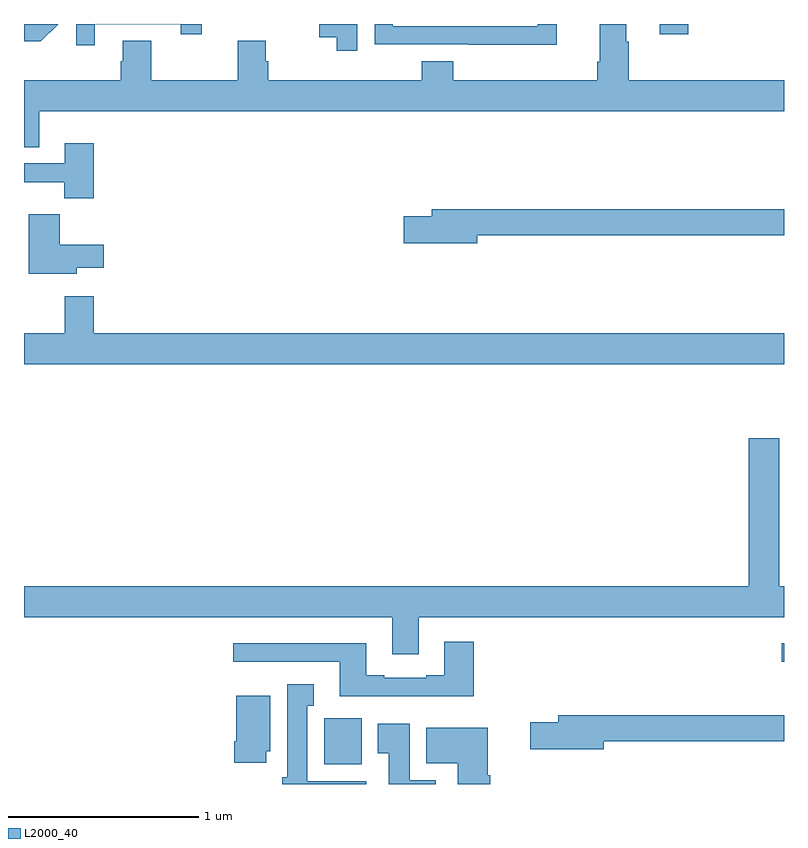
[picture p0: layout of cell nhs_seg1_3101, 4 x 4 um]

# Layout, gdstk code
import gdstk
lib = gdstk.Library(unit=1e-6, precision=1e-09)
def R(c, l, rs):  # rectangles x0, y0, x1, y1
    for r in rs: c.add(gdstk.rectangle(r[:2], r[2:], *l))
def P(c, l, *ps):  # polygons
    for p in ps: c.add(gdstk.Polygon(p, *l))
L2000_40 = (2000, 40)

nhs_seg1_3101 = lib.new_cell('nhs_seg1_3101')
R(nhs_seg1_3101, L2000_40, [(280.58,540.302,280.777,540.544), (282.987,540.843,283,540.94), (282.347,544.146,282.496,544.199)])
P(nhs_seg1_3101, L2000_40, [(283,543.904),(282.182,543.904),(282.182,544.106),(282.169,544.106),(282.169,544.199),(282.029,544.199),(282.029,544),(282.017,544),(282.017,543.904),(281.258,543.904),(281.258,544.003),(281.093,544.003),(281.093,543.904),(280.286,543.904),(280.286,544.002),(280.273,544.002),(280.273,544.112),(280.126,544.112),(280.126,543.904),(279.669,543.904),(279.669,544.112),(279.521,544.112),(279.521,544.002),(279.509,544.002),(279.509,543.904),(279,543.904),(279,543.55),(279.079,543.55),(279.079,543.74),(283,543.74)],
  [(279.373,544.197),(279.824,544.197),(279.824,544.146),(279.935,544.146),(279.935,544.199),(279.276,544.199),(279.276,544.086),(279.373,544.086)],
  [(281.805,544.199),(281.705,544.199),(281.705,544.188),(280.941,544.188),(280.941,544.199),(280.845,544.199),(280.845,544.092),(281.341,544.092),(281.341,544.091),(281.805,544.091)],
  [(280.755,544.199),(280.02,544.199),(280.02,544.197),(280.554,544.197),(280.554,544.129),(280.647,544.129),(280.647,544.059),(280.755,544.059)],
  [(279.179,544.199),(279,544.199),(279,544.109),(279.088,544.109)],
  [(279.368,543.571),(279.215,543.571),(279.215,543.465),(279,543.465),(279,543.366),(279.213,543.366),(279.213,543.281),(279.368,543.281)],
  [(281.386,543.088),(283,543.088),(283,543.224),(281.147,543.224),(281.147,543.188),(280.998,543.188),(280.998,543.046),(281.386,543.046)],
  [(279.277,542.915),(279.421,542.915),(279.421,543.037),(279.188,543.037),(279.188,543.199),(279.026,543.199),(279.026,542.885),(279.277,542.885)],
  [(283,542.572),(279.368,542.572),(279.368,542.767),(279.215,542.767),(279.215,542.572),(279,542.572),(279,542.408),(283,542.408)],
  [(281.077,541.076),(283,541.076),(283,541.24),(282.975,541.24),(282.975,542.02),(282.815,542.02),(282.815,541.24),(279,541.24),(279,541.076),(280.937,541.076),(280.937,540.882),(281.077,540.882)],
  [(281.366,540.949),(281.213,540.949),(281.213,540.772),(281.117,540.772),(281.117,540.759),(280.897,540.759),(280.897,540.772),(280.801,540.772),(280.801,540.94),(280.101,540.94),(280.101,540.843),(280.661,540.843),(280.661,540.662),(281.366,540.662)],
  [(280.801,540.214),(280.492,540.214),(280.492,540.611),(280.525,540.611),(280.525,540.724),(280.385,540.724),(280.385,540.234),(280.358,540.234),(280.358,540.199),(280.801,540.199)],
  [(280.276,540.372),(280.297,540.372),(280.297,540.664),(280.118,540.664),(280.118,540.424),(280.106,540.424),(280.106,540.312),(280.276,540.312)],
  [(282.052,540.424),(283,540.424),(283,540.56),(281.813,540.56),(281.813,540.524),(281.664,540.524),(281.664,540.382),(282.052,540.382)],
  [(281.168,540.22),(281.029,540.22),(281.029,540.517),(280.862,540.517),(280.862,540.361),(280.919,540.361),(280.919,540.199),(281.168,540.199)],
  [(281.453,540.244),(281.44,540.244),(281.44,540.496),(281.117,540.496),(281.117,540.308),(281.282,540.308),(281.282,540.199),(281.453,540.199)])

lib.write_gds('nhs_seg1_3101.gds')
